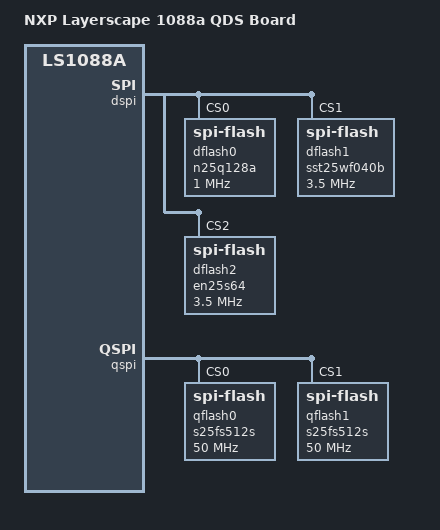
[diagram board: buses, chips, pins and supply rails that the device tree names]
/*
 * NXP ls1088a QDS board device tree source
 *
 * Copyright 2017 NXP
 *
 * SPDX-License-Identifier:	GPL-2.0+	X11
 */

/dts-v1/;

#include "fsl-ls1088a.dtsi"

/ {
	model = "NXP Layerscape 1088a QDS Board";
	compatible = "fsl,ls1088a-qds", "fsl,ls1088a";
	aliases {
		spi0 = &qspi;
		spi1 = &dspi;
	};
};

&dspi {
	bus-num = <0>;
	status = "okay";

	dflash0: n25q128a {
		#address-cells = <1>;
		#size-cells = <1>;
		compatible = "spi-flash";
		reg = <0>;
		spi-max-frequency = <1000000>; /* input clock */
	};

	dflash1: sst25wf040b {
		#address-cells = <1>;
		#size-cells = <1>;
		compatible = "spi-flash";
		spi-max-frequency = <3500000>;
		reg = <1>;
	};

	dflash2: en25s64 {
		#address-cells = <1>;
		#size-cells = <1>;
		compatible = "spi-flash";
		spi-max-frequency = <3500000>;
		reg = <2>;
	};
};

&qspi {
	bus-num = <0>;
	status = "okay";

	qflash0: s25fs512s@0 {
		#address-cells = <1>;
		#size-cells = <1>;
		compatible = "spi-flash";
		spi-max-frequency = <50000000>;
		reg = <0>;
	};

	qflash1: s25fs512s@1 {
		#address-cells = <1>;
		#size-cells = <1>;
		compatible = "spi-flash";
		spi-max-frequency = <50000000>;
		reg = <1>;
	 };
};
